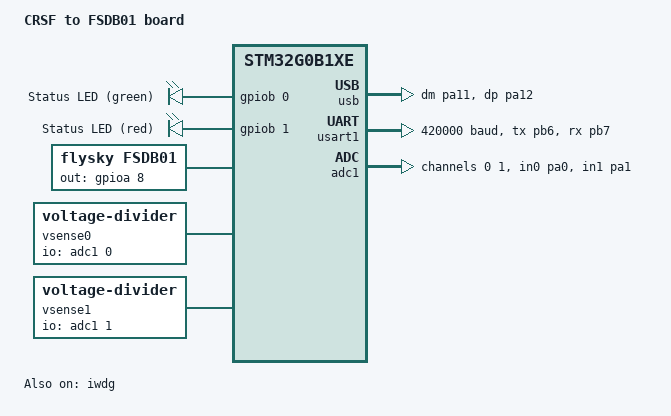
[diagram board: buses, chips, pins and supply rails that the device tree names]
/*
 * Custom board with STM32G0B1CET6 (LQFP48, 512 KiB flash, 144 KiB RAM)
 *
 * SPDX-License-Identifier: Apache-2.0
 */

/dts-v1/;
#include <st/g0/stm32g0b1Xe.dtsi>
#include <st/g0/stm32g0b1c(b-c-e)tx-pinctrl.dtsi>
#include <zephyr/dt-bindings/adc/adc.h>

/ {
	model = "CRSF to FSDB01 board";
	compatible = "custom,crsf-fsdb01";

	chosen {
		zephyr,sram = &sram0;
		zephyr,flash = &flash0;
	};

	/* TODO: pin assignments are provisional until the schematic is final */
	leds: leds {
		compatible = "gpio-leds";

		green_led: led_0 {
			gpios = <&gpiob 0 GPIO_ACTIVE_HIGH>;
			label = "Status LED (green)";
		};

		red_led: led_1 {
			gpios = <&gpiob 1 GPIO_ACTIVE_HIGH>;
			label = "Status LED (red)";
		};
	};

	/* TODO: placeholder pin, FS-DB01 output not assigned yet */
	fsdb01: fsdb01 {
		compatible = "flysky,fsdb01";
		out-gpios = <&gpioa 8 GPIO_ACTIVE_HIGH>;
	};

	/* Input voltage dividers: 100k over 33k, ratio 33/133 = 0.248 */
	vsense0: vsense0 {
		compatible = "voltage-divider";
		io-channels = <&adc1 0>;
		output-ohms = <33000>;
		full-ohms = <(100000 + 33000)>;
	};

	vsense1: vsense1 {
		compatible = "voltage-divider";
		io-channels = <&adc1 1>;
		output-ohms = <33000>;
		full-ohms = <(100000 + 33000)>;
	};

	aliases {
		fsdb01 = &fsdb01;
		vsense0 = &vsense0;
		vsense1 = &vsense1;
		led0 = &green_led;
		led1 = &red_led;
		crsf-uart = &usart1;
		watchdog0 = &iwdg;
	};
};

&clk_lsi {
	status = "okay";
};

&clk_hsi {
	status = "okay";
};

/* No crystal: USB is clocked from HSI48, trimmed against USB SOF by the CRS */
&clk_hsi48 {
	status = "okay";
	crs-usb-sof;
};

/* 64 MHz SYSCLK from the 16 MHz HSI */
&pll {
	div-m = <1>;
	mul-n = <8>;
	div-p = <2>;
	div-q = <2>;
	div-r = <2>;
	clocks = <&clk_hsi>;
	status = "okay";
};

&rcc {
	clocks = <&pll>;
	clock-frequency = <DT_FREQ_M(64)>;
	ahb-prescaler = <1>;
	apb1-prescaler = <1>;
};

zephyr_udc0: &usb {
	pinctrl-0 = <&usb_dm_pa11 &usb_dp_pa12>;
	pinctrl-names = "default";
	status = "okay";
};

/* CRSF link: 420000 baud, 8N1, full duplex */
&usart1 {
	pinctrl-0 = <&usart1_tx_pb6 &usart1_rx_pb7>;
	pinctrl-names = "default";
	current-speed = <420000>;
	status = "okay";
};

/* Voltage sense inputs: PA0 (IN0) and PA1 (IN1); ADC clock 64 MHz / 4 = 16 MHz */
&adc1 {
	pinctrl-0 = <&adc1_in0_pa0 &adc1_in1_pa1>;
	pinctrl-names = "default";
	st,adc-clock-source = "SYNC";
	st,adc-prescaler = <4>;
	status = "okay";
	#address-cells = <1>;
	#size-cells = <0>;

	/* Max sampling time (160.5 cycles, 10 us): the dividers' source impedance is ~25k */
	channel@0 {
		reg = <0>;
		zephyr,gain = "ADC_GAIN_1";
		zephyr,reference = "ADC_REF_INTERNAL";
		zephyr,acquisition-time = <ADC_ACQ_TIME_MAX>;
		zephyr,resolution = <12>;
	};

	channel@1 {
		reg = <1>;
		zephyr,gain = "ADC_GAIN_1";
		zephyr,reference = "ADC_REF_INTERNAL";
		zephyr,acquisition-time = <ADC_ACQ_TIME_MAX>;
		zephyr,resolution = <12>;
	};
};

&iwdg {
	status = "okay";
};
